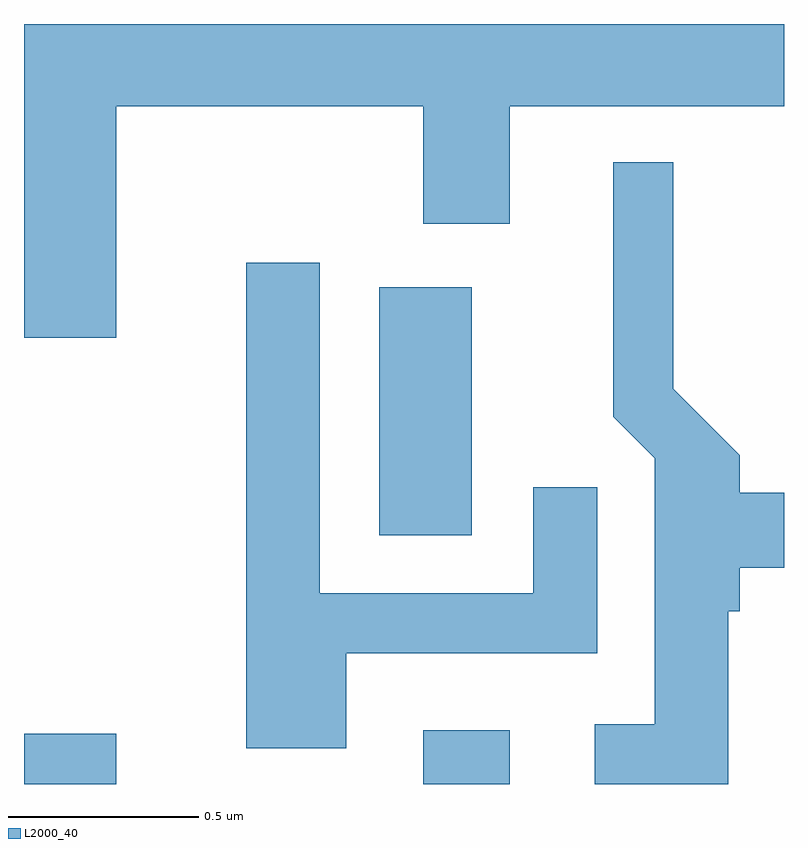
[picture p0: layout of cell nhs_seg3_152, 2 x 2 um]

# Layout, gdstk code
import gdstk
lib = gdstk.Library(unit=1e-6, precision=1e-09)
def R(c, l, rs):  # rectangles x0, y0, x1, y1
    for r in rs: c.add(gdstk.rectangle(r[:2], r[2:], *l))
def P(c, l, *ps):  # polygons
    for p in ps: c.add(gdstk.Polygon(p, *l))
L2000_40 = (2000, 40)

nhs_seg3_152 = lib.new_cell('nhs_seg3_152')
R(nhs_seg3_152, L2000_40, [(186.611,1130.892,186.854,1131.024), (187.661,1130.892,187.889,1131.034), (187.546,1131.546,187.789,1132.199)])
P(nhs_seg3_152, L2000_40, [(186.854,1132.676),(187.661,1132.676),(187.661,1132.366),(187.889,1132.366),(187.889,1132.676),(188.611,1132.676),(188.611,1132.892),(186.611,1132.892),(186.611,1132.066),(186.854,1132.066)],
  [(188.464,1131.346),(188.494,1131.346),(188.494,1131.461),(188.611,1131.461),(188.611,1131.659),(188.494,1131.659),(188.494,1131.757),(188.319,1131.932),(188.319,1132.528),(188.161,1132.528),(188.161,1131.859),(188.271,1131.749),(188.271,1131.049),(188.113,1131.049),(188.113,1130.892),(188.464,1130.892)],
  [(187.459,1131.236),(188.119,1131.236),(188.119,1131.673),(187.951,1131.673),(187.951,1131.394),(187.389,1131.394),(187.389,1132.264),(187.196,1132.264),(187.196,1130.986),(187.459,1130.986)])

lib.write_gds('nhs_seg3_152.gds')
